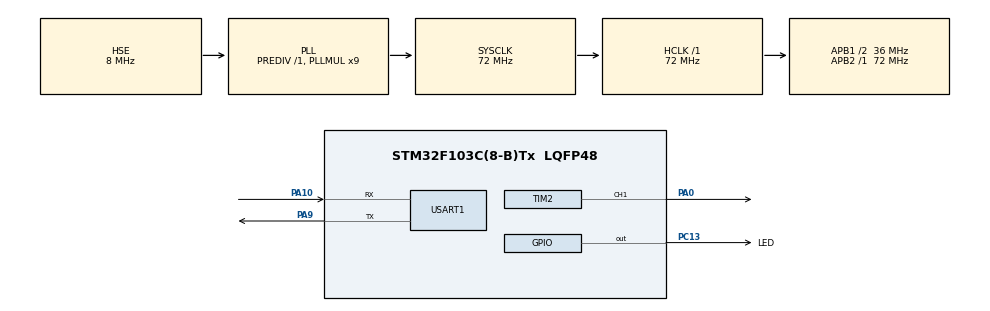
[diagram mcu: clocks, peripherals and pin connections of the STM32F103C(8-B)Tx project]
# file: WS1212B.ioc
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Dma.Request0=TIM2_CH1
Dma.TIM2_CH1.0.Direction=DMA_MEMORY_TO_PERIPH
Dma.TIM2_CH1.0.Instance=DMA1_Channel5
Dma.TIM2_CH1.0.MemDataAlignment=DMA_MDATAALIGN_HALFWORD
Dma.TIM2_CH1.0.MemInc=DMA_MINC_ENABLE
Dma.TIM2_CH1.0.Mode=DMA_NORMAL
Dma.TIM2_CH1.0.PeriphDataAlignment=DMA_PDATAALIGN_HALFWORD
Dma.TIM2_CH1.0.PeriphInc=DMA_PINC_DISABLE
Dma.TIM2_CH1.0.Priority=DMA_PRIORITY_HIGH
FREERTOS.Tasks01=MainTask,0,128,Main_Task,Default,NULL,Dynamic,NULL,NULL;CircularRing,-3,128,CircularRing_Task,Default,NULL,Dynamic,NULL,NULL;HeartBeat,-3,128,HeartBeat_Task,Default,NULL,Dynamic,NULL,NULL;AllColors,-3,128,AllColors_Task,Default,NULL,Dynamic,NULL,NULL;ColorWheel,-3,128,ColorWheel_Task,Default,NULL,Dynamic,NULL,NULL;PatternMove,-3,128,PatternMove_Task,Default,NULL,Dynamic,NULL,NULL;FullEmpty,-3,128,FullEmpty_Task,Default,NULL,Dynamic,NULL,NULL;AlternateColors,-3,128,AlternateColors_Task,Default,NULL,Dynamic,NULL,NULL
Mcu.Family=STM32F1
Mcu.Name=STM32F103C(8-B)Tx
Mcu.Package=LQFP48
NVIC.DMA1_Channel5_IRQn=true\:5\:0\:false\:false\:true\:true\:false\:true\:true
NVIC.PriorityGroup=NVIC_PRIORITYGROUP_4
NVIC.TIM2_IRQn=true\:5\:0\:false\:false\:true\:true\:true\:true\:true
PA0-WKUP.Signal=S_TIM2_CH1_ETR
PA10.Mode=Asynchronous
PA10.Signal=USART1_RX
PA13.Mode=Serial_Wire
PA13.Signal=SYS_JTMS-SWDIO
PA14.Mode=Serial_Wire
PA14.Signal=SYS_JTCK-SWCLK
PA9.Mode=Asynchronous
PA9.Signal=USART1_TX
PC13-TAMPER-RTC.GPIO_Label=LED
PC13-TAMPER-RTC.Signal=GPIO_Output
PC13-TAMPER-RTC.Stacked=true
PC14-OSC32_IN.Mode=LSE-External-Oscillator
PC14-OSC32_IN.Signal=RCC_OSC32_IN
PC15-OSC32_OUT.Mode=LSE-External-Oscillator
PC15-OSC32_OUT.Signal=RCC_OSC32_OUT
PD0-OSC_IN.Mode=HSE-External-Oscillator
PD0-OSC_IN.Signal=RCC_OSC_IN
PD1-OSC_OUT.Mode=HSE-External-Oscillator
PD1-OSC_OUT.Signal=RCC_OSC_OUT
ProjectManager.HeapSize=0x200
ProjectManager.StackSize=0x400
ProjectManager.TargetToolchain=MDK-ARM V5.32
RCC.AHBFreq_Value=72000000
RCC.APB1CLKDivider=RCC_HCLK_DIV2
RCC.APB1Freq_Value=36000000
RCC.APB1TimFreq_Value=72000000
RCC.APB2Freq_Value=72000000
RCC.APB2TimFreq_Value=72000000
RCC.HCLKFreq_Value=72000000
RCC.PLLMUL=RCC_PLL_MUL9
RCC.PLLSourceVirtual=RCC_PLLSOURCE_HSE
RCC.SYSCLKFreq_VALUE=72000000
RCC.SYSCLKSource=RCC_SYSCLKSOURCE_PLLCLK
RCC.USBFreq_Value=72000000
SH.S_TIM2_CH1_ETR.0=TIM2_CH1,PWM Generation1 CH1
TIM2.Channel-PWM\ Generation1\ CH1=TIM_CHANNEL_1
TIM2.Period=90-1
USART1.VirtualMode=VM_ASYNC
VP_FREERTOS_VS_CMSIS_V1.Mode=CMSIS_V1
VP_TIM2_VS_ClockSourceINT.Mode=Internal
board=custom

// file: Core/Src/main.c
/* USER CODE BEGIN Header */
/**
  ******************************************************************************
  * @file           : main.c
  * @brief          : Main program body
  ******************************************************************************
  * @attention
  *
  * Copyright (c) 2022 STMicroelectronics.
  * All rights reserved.
  *
  * This software is licensed under terms that can be found in the LICENSE file
  * in the root directory of this software component.
  * If no LICENSE file comes with this software, it is provided AS-IS.
  *
  ******************************************************************************
  */
/* USER CODE END Header */
#include "main.h"
#include "cmsis_os.h"
#include "dma.h"
#include "tim.h"
#include "usart.h"
#include "gpio.h"

void SystemClock_Config(void);
void MX_FREERTOS_Init(void);

int main(void)
{

  /* MCU Configuration--------------------------------------------------------*/

  /* Reset of all peripherals, Initializes the Flash interface and the Systick. */
  HAL_Init();

  /* Configure the system clock */
  SystemClock_Config();

  /* Initialize all configured peripherals */
  MX_GPIO_Init();
  MX_DMA_Init();
  MX_TIM2_Init();
  MX_USART1_UART_Init();

  /* Call init function for freertos objects (in freertos.c) */
  MX_FREERTOS_Init();

  /* Start scheduler */
  osKernelStart();

  /* We should never get here as control is now taken by the scheduler */
  /* Infinite loop */
  while (1)
  {

  }
}

void SystemClock_Config(void)
{
  RCC_OscInitTypeDef RCC_OscInitStruct = {0};
  RCC_ClkInitTypeDef RCC_ClkInitStruct = {0};

  /** Initializes the RCC Oscillators according to the specified parameters
  * in the RCC_OscInitTypeDef structure.
  */
  RCC_OscInitStruct.OscillatorType = RCC_OSCILLATORTYPE_HSE;
  RCC_OscInitStruct.HSEState = RCC_HSE_ON;
  RCC_OscInitStruct.HSEPredivValue = RCC_HSE_PREDIV_DIV1;
  RCC_OscInitStruct.HSIState = RCC_HSI_ON;
  RCC_OscInitStruct.PLL.PLLState = RCC_PLL_ON;
  RCC_OscInitStruct.PLL.PLLSource = RCC_PLLSOURCE_HSE;
  RCC_OscInitStruct.PLL.PLLMUL = RCC_PLL_MUL9;
  if (HAL_RCC_OscConfig(&RCC_OscInitStruct) != HAL_OK)
  {
    Error_Handler();
  }

  /** Initializes the CPU, AHB and APB buses clocks
  */
  RCC_ClkInitStruct.ClockType = RCC_CLOCKTYPE_HCLK|RCC_CLOCKTYPE_SYSCLK
                              |RCC_CLOCKTYPE_PCLK1|RCC_CLOCKTYPE_PCLK2;
  RCC_ClkInitStruct.SYSCLKSource = RCC_SYSCLKSOURCE_PLLCLK;
  RCC_ClkInitStruct.AHBCLKDivider = RCC_SYSCLK_DIV1;
  RCC_ClkInitStruct.APB1CLKDivider = RCC_HCLK_DIV2;
  RCC_ClkInitStruct.APB2CLKDivider = RCC_HCLK_DIV1;

  if (HAL_RCC_ClockConfig(&RCC_ClkInitStruct, FLASH_LATENCY_2) != HAL_OK)
  {
    Error_Handler();
  }
}

void Error_Handler(void)
{
  __disable_irq();
  while (1)
  {
  }
}

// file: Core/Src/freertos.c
/* USER CODE BEGIN Header */
/**
  ******************************************************************************
  * File Name          : freertos.c
  * Description        : Code for freertos applications
  ******************************************************************************
  * @attention
  *
  * Copyright (c) 2022 STMicroelectronics.
  * All rights reserved.
  *
  * This software is licensed under terms that can be found in the LICENSE file
  * in the root directory of this software component.
  * If no LICENSE file comes with this software, it is provided AS-IS.
  *
  ******************************************************************************
  */
/* USER CODE END Header */

#include "FreeRTOS.h"
#include "task.h"
#include "main.h"
#include "cmsis_os.h"

osThreadId MainTaskHandle;
osThreadId CircularRingHandle;
osThreadId HeartBeatHandle;
osThreadId AllColorsHandle;
osThreadId ColorWheelHandle;
osThreadId PatternMoveHandle;
osThreadId FullEmptyHandle;
osThreadId AlternateColorsHandle;

void Main_Task(void const * argument);
void CircularRing_Task(void const * argument);
void HeartBeat_Task(void const * argument);
void AllColors_Task(void const * argument);
void ColorWheel_Task(void const * argument);
void PatternMove_Task(void const * argument);
void FullEmpty_Task(void const * argument);
void AlternateColors_Task(void const * argument);

void MX_FREERTOS_Init(void); /* (MISRA C 2004 rule 8.1) */

/* GetIdleTaskMemory prototype (linked to static allocation support) */
void vApplicationGetIdleTaskMemory( StaticTask_t **ppxIdleTaskTCBBuffer, StackType_t **ppxIdleTaskStackBuffer, uint32_t *pulIdleTaskStackSize );

/* USER CODE BEGIN GET_IDLE_TASK_MEMORY */
static StaticTask_t xIdleTaskTCBBuffer;
static StackType_t xIdleStack[configMINIMAL_STACK_SIZE];

void vApplicationGetIdleTaskMemory( StaticTask_t **ppxIdleTaskTCBBuffer, StackType_t **ppxIdleTaskStackBuffer, uint32_t *pulIdleTaskStackSize )
{
  *ppxIdleTaskTCBBuffer = &xIdleTaskTCBBuffer;
  *ppxIdleTaskStackBuffer = &xIdleStack[0];
  *pulIdleTaskStackSize = configMINIMAL_STACK_SIZE;
  /* place for user code */
}
/* USER CODE END GET_IDLE_TASK_MEMORY */

void MX_FREERTOS_Init(void) {

  /* Create the thread(s) */
  /* definition and creation of MainTask */
  osThreadDef(MainTask, Main_Task, osPriorityNormal, 0, 128);
  MainTaskHandle = osThreadCreate(osThread(MainTask), NULL);

  /* definition and creation of CircularRing */
  osThreadDef(CircularRing, CircularRing_Task, osPriorityIdle, 0, 128);
  CircularRingHandle = osThreadCreate(osThread(CircularRing), NULL);

  /* definition and creation of HeartBeat */
  osThreadDef(HeartBeat, HeartBeat_Task, osPriorityIdle, 0, 128);
  HeartBeatHandle = osThreadCreate(osThread(HeartBeat), NULL);

  /* definition and creation of AllColors */
  osThreadDef(AllColors, AllColors_Task, osPriorityIdle, 0, 128);
  AllColorsHandle = osThreadCreate(osThread(AllColors), NULL);

  /* definition and creation of ColorWheel */
  osThreadDef(ColorWheel, ColorWheel_Task, osPriorityIdle, 0, 128);
  ColorWheelHandle = osThreadCreate(osThread(ColorWheel), NULL);

  /* definition and creation of PatternMove */
  osThreadDef(PatternMove, PatternMove_Task, osPriorityIdle, 0, 128);
  PatternMoveHandle = osThreadCreate(osThread(PatternMove), NULL);

  /* definition and creation of FullEmpty */
  osThreadDef(FullEmpty, FullEmpty_Task, osPriorityIdle, 0, 128);
  FullEmptyHandle = osThreadCreate(osThread(FullEmpty), NULL);

  /* definition and creation of AlternateColors */
  osThreadDef(AlternateColors, AlternateColors_Task, osPriorityIdle, 0, 128);
  AlternateColorsHandle = osThreadCreate(osThread(AlternateColors), NULL);

  /* USER CODE BEGIN RTOS_THREADS */
  /* add threads, ... */
	vTaskSuspend(CircularRingHandle);			//КЧПИПИ№ТЖрЛщУРИООс
	vTaskSuspend(HeartBeatHandle);
	vTaskSuspend(AllColorsHandle);
	vTaskSuspend(ColorWheelHandle);
	vTaskSuspend(PatternMoveHandle);
	vTaskSuspend(FullEmptyHandle);
	vTaskSuspend(AlternateColorsHandle);
  /* USER CODE END RTOS_THREADS */

}

void Main_Task(void const * argument)
{
  /* USER CODE BEGIN Main_Task */
  /* Infinite loop */
  for(;;)
  {
    osDelay(5000);
  }
  /* USER CODE END Main_Task */
}

void CircularRing_Task(void const * argument)
{
  /* USER CODE BEGIN CircularRing_Task */
  /* Infinite loop */
  for(;;)
  {
    vTaskResume(CircularRingHandle);
	vTaskDelay(10000);
	vTaskSuspend(CircularRingHandle);
  }
  /* USER CODE END CircularRing_Task */
}

void HeartBeat_Task(void const * argument)
{
  /* USER CODE BEGIN HeartBeat_Task */
  /* Infinite loop */
  for(;;)
  {
    vTaskResume(HeartBeatHandle);
	vTaskDelay(10000);
	vTaskSuspend(HeartBeatHandle);
  }
  /* USER CODE END HeartBeat_Task */
}

void AllColors_Task(void const * argument)
{
  /* USER CODE BEGIN AllColors_Task */
  /* Infinite loop */
  for(;;)
  {
    vTaskResume(AllColorsHandle);
	vTaskDelay(10000);
	vTaskSuspend(AllColorsHandle);
  }
  /* USER CODE END AllColors_Task */
}

void ColorWheel_Task(void const * argument)
{
  /* USER CODE BEGIN ColorWheel_Task */
  /* Infinite loop */
  for(;;)
  {
    vTaskResume(ColorWheelHandle);
	vTaskDelay(10000);
	vTaskSuspend(ColorWheelHandle);
  }
  /* USER CODE END ColorWheel_Task */
}

void PatternMove_Task(void const * argument)
{
  /* USER CODE BEGIN PatternMove_Task */
  /* Infinite loop */
  for(;;)
  {
    vTaskResume(PatternMoveHandle);
	vTaskDelay(10000);
	vTaskSuspend(PatternMoveHandle);
  }
  /* USER CODE END PatternMove_Task */
}

void FullEmpty_Task(void const * argument)
{
  /* USER CODE BEGIN FullEmpty_Task */
  /* Infinite loop */
  for(;;)
  {
    vTaskResume(FullEmptyHandle);
	vTaskDelay(10000);
	vTaskSuspend(FullEmptyHandle);
  }
  /* USER CODE END FullEmpty_Task */
}

void AlternateColors_Task(void const * argument)
{
  /* USER CODE BEGIN AlternateColors_Task */
  /* Infinite loop */
  for(;;)
  {
    vTaskResume(AlternateColorsHandle);
	vTaskDelay(10000);
	vTaskSuspend(AlternateColorsHandle);
  }
  /* USER CODE END AlternateColors_Task */
}
